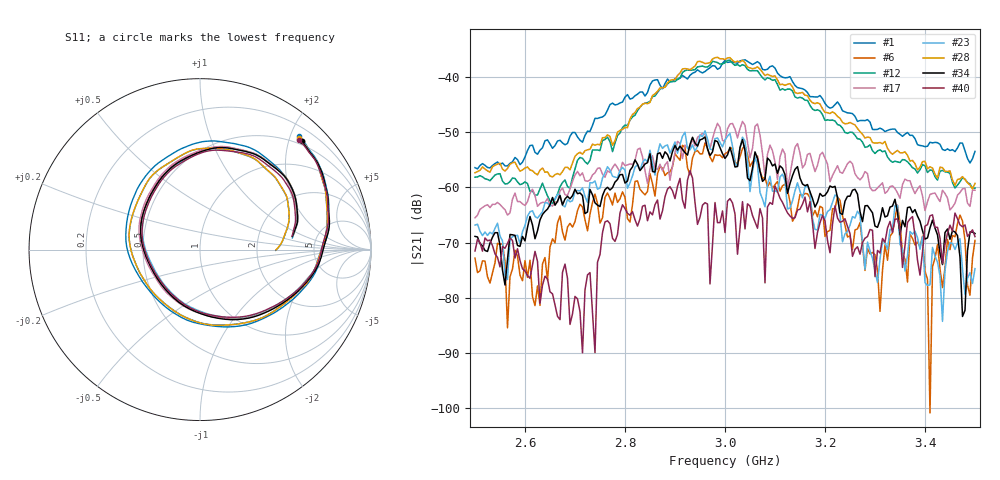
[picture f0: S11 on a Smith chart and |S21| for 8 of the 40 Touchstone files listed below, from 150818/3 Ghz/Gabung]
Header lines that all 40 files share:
# Hz S RI R 50
! CMT, C1220, 16058040, 17.2.0/1
! Data: Format (Calibration Info)
! Freq  S11: Re/Im (F2)  S21: Re/Im (F2)  S12: Re/Im (F2)  S22: Re/Im (F2)
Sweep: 2.5 GHz to 3.5 GHz
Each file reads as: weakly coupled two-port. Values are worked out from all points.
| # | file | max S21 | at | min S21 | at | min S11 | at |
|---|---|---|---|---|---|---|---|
| 1 | Sudut_90_Titik_9.s2p | -36.87 dB | 3.04 GHz | -56.6 dB | 2.505 GHz | -8.4 dB | 2.985 GHz |
| 2 | Sudut_100_Titik_3.s2p | -49.50 dB | 2.885 GHz | -71.2 dB | 2.5 GHz | -11.3 dB | 2.975 GHz |
| 3 | Sudut_100_Titik_5.s2p | -54.52 dB | 2.93 GHz | -75.7 dB | 3.265 GHz | -10.9 dB | 2.99 GHz |
| 4 | Sudut_100_Titik_8.s2p | -42.18 dB | 3.04 GHz | -61.7 dB | 2.505 GHz | -10.7 dB | 2.985 GHz |
| 5 | Sudut_100_Titik_9.s2p | -36.79 dB | 3.035 GHz | -56.3 dB | 2.5 GHz | -8.3 dB | 2.985 GHz |
| 6 | Sudut_110_Titik_6.s2p | -51.91 dB | 2.96 GHz | -100.9 dB | 3.41 GHz | -10.4 dB | 2.98 GHz |
| 7 | Sudut_110_Titik_8.s2p | -41.92 dB | 3.04 GHz | -61.6 dB | 2.5 GHz | -10.8 dB | 2.985 GHz |
| 8 | Sudut_120_Titik_1.s2p | -36.91 dB | 3 GHz | -56.0 dB | 3.49 GHz | -8.2 dB | 2.985 GHz |
| 9 | Sudut_120_Titik_3.s2p | -49.96 dB | 2.87 GHz | -70.3 dB | 2.5 GHz | -11.0 dB | 2.975 GHz |
| 10 | Sudut_120_Titik_6.s2p | -51.64 dB | 2.96 GHz | -90.7 dB | 3.325 GHz | -10.3 dB | 2.98 GHz |
| 11 | Sudut_120_Titik_7.s2p | -50.91 dB | 3.065 GHz | -67.0 dB | 3.4 GHz | -10.1 dB | 2.98 GHz |
| 12 | Sudut_130_Titik_2.s2p | -36.95 dB | 3.01 GHz | -62.9 dB | 2.655 GHz | -8.6 dB | 2.99 GHz |
| 13 | Sudut_130_Titik_3.s2p | -49.22 dB | 3.07 GHz | -69.6 dB | 2.5 GHz | -11.1 dB | 2.975 GHz |
| 14 | Sudut_130_Titik_7.s2p | -49.32 dB | 3.035 GHz | -66.4 dB | 2.5 GHz | -10.2 dB | 2.98 GHz |
| 15 | Sudut_140_Titik_1.s2p | -36.98 dB | 3.03 GHz | -55.5 dB | 2.505 GHz | -8.2 dB | 2.985 GHz |
| 16 | Sudut_140_Titik_4.s2p | -49.20 dB | 3.005 GHz | -86.3 dB | 3.45 GHz | -8.8 dB | 2.985 GHz |
| 17 | Sudut_140_Titik_7.s2p | -48.05 dB | 3.035 GHz | -65.5 dB | 2.5 GHz | -10.2 dB | 2.98 GHz |
| 18 | Sudut_150_Titik_2.s2p | -36.21 dB | 3.01 GHz | -60.4 dB | 3.5 GHz | -8.6 dB | 2.99 GHz |
| 19 | Sudut_150_Titik_3.s2p | -47.78 dB | 3.005 GHz | -67.7 dB | 2.5 GHz | -11.4 dB | 2.975 GHz |
| 20 | Sudut_150_Titik_9.s2p | -37.28 dB | 3.03 GHz | -55.5 dB | 2.5 GHz | -8.2 dB | 2.985 GHz |
| 21 | Sudut_160_Titik_4.s2p | -47.10 dB | 2.975 GHz | -87.4 dB | 2.665 GHz | -8.6 dB | 2.985 GHz |
| 22 | Sudut_160_Titik_5.s2p | -55.55 dB | 2.98 GHz | -85.6 dB | 2.72 GHz | -10.9 dB | 2.985 GHz |
| 23 | Sudut_160_Titik_6.s2p | -49.74 dB | 2.96 GHz | -84.3 dB | 3.435 GHz | -10.8 dB | 2.98 GHz |
| 24 | Sudut_170_Titik_5.s2p | -57.09 dB | 2.98 GHz | -90.8 dB | 2.63 GHz | -10.7 dB | 2.985 GHz |
| 25 | Sudut_170_Titik_6.s2p | -49.80 dB | 2.96 GHz | -83.1 dB | 2.56 GHz | -10.6 dB | 2.98 GHz |
| 26 | Sudut_170_Titik_8.s2p | -39.29 dB | 3.01 GHz | -58.8 dB | 2.535 GHz | -10.8 dB | 2.985 GHz |
| 27 | Sudut_170_Titik_9.s2p | -37.35 dB | 3.03 GHz | -55.8 dB | 3.49 GHz | -8.2 dB | 2.985 GHz |
| 28 | Sudut_180_Titik_2.s2p | -36.42 dB | 2.985 GHz | -60.3 dB | 3.495 GHz | -8.6 dB | 2.99 GHz |
| 29 | Sudut_180_Titik_4.s2p | -47.02 dB | 2.975 GHz | -92.0 dB | 2.625 GHz | -8.5 dB | 2.985 GHz |
| 30 | Sudut_180_Titik_6.s2p | -50.23 dB | 3.035 GHz | -82.8 dB | 3.48 GHz | -10.5 dB | 2.98 GHz |
| 31 | Sudut_180_Titik_8.s2p | -38.75 dB | 3.005 GHz | -57.6 dB | 2.535 GHz | -10.6 dB | 2.985 GHz |
| 32 | Sudut_190_Titik_3.s2p | -46.58 dB | 3.01 GHz | -67.8 dB | 2.5 GHz | -11.3 dB | 2.975 GHz |
| 33 | Sudut_190_Titik_5.s2p | -59.00 dB | 2.925 GHz | -95.8 dB | 2.73 GHz | -10.7 dB | 2.985 GHz |
| 34 | Sudut_190_Titik_6.s2p | -50.86 dB | 2.96 GHz | -83.4 dB | 3.475 GHz | -10.4 dB | 2.98 GHz |
| 35 | Sudut_200_Titik_6.s2p | -52.14 dB | 3.035 GHz | -86.1 dB | 3.48 GHz | -10.4 dB | 2.98 GHz |
| 36 | Sudut_200_Titik_7.s2p | -42.66 dB | 3.01 GHz | -61.9 dB | 2.505 GHz | -10.3 dB | 2.98 GHz |
| 37 | Sudut_200_Titik_8.s2p | -38.07 dB | 3.005 GHz | -56.8 dB | 2.5 GHz | -10.7 dB | 2.985 GHz |
| 38 | Sudut_210_Titik_3.s2p | -48.61 dB | 3.07 GHz | -68.6 dB | 3.45 GHz | -11.0 dB | 2.975 GHz |
| 39 | Sudut_210_Titik_4.s2p | -49.49 dB | 2.975 GHz | -87.9 dB | 3.445 GHz | -8.8 dB | 2.985 GHz |
| 40 | Sudut_210_Titik_5.s2p | -56.98 dB | 2.93 GHz | -90.0 dB | 2.715 GHz | -10.6 dB | 2.985 GHz |
